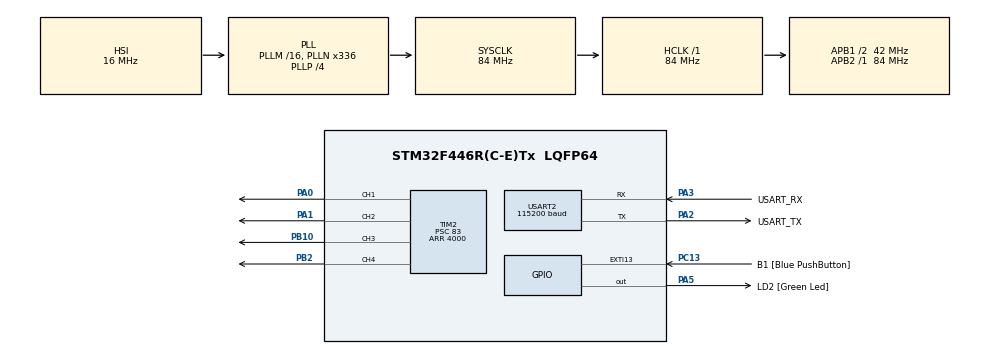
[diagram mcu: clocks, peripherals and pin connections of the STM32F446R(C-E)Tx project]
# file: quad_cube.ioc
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FREERTOS.Tasks01=defaultTask,0,128,StartDefaultTask,Default,NULL
Mcu.Family=STM32F4
Mcu.Name=STM32F446R(C-E)Tx
Mcu.Package=LQFP64
NVIC.PriorityGroup=NVIC_PRIORITYGROUP_4
NVIC.TIM1_UP_TIM10_IRQn=true\:0\:0\:false\:false\:true\:false
NVIC.TimeBase=TIM1_UP_TIM10_IRQn
NVIC.TimeBaseIP=TIM1
PA0-WKUP.Signal=S_TIM2_CH1_ETR
PA1.Signal=S_TIM2_CH2
PA13.GPIO_Label=TMS
PA13.Signal=SYS_JTMS-SWDIO
PA14.GPIO_Label=TCK
PA14.Signal=SYS_JTCK-SWCLK
PA2.GPIO_Label=USART_TX
PA2.GPIO_Speed=GPIO_SPEED_FREQ_LOW
PA2.Mode=Asynchronous
PA2.Signal=USART2_TX
PA3.GPIO_Label=USART_RX
PA3.GPIO_Speed=GPIO_SPEED_FREQ_LOW
PA3.Mode=Asynchronous
PA3.Signal=USART2_RX
PA5.GPIO_Label=LD2 [Green Led]
PA5.Signal=GPIO_Output
PB10.Signal=S_TIM2_CH3
PB2.Signal=S_TIM2_CH4
PB3.GPIO_Label=SWO
PB3.Signal=SYS_JTDO-SWO
PC13.GPIO_Label=B1 [Blue PushButton]
PC13.GPIO_ModeDefaultEXTI=GPIO_MODE_IT_FALLING
PC13.Signal=GPXTI13
PC14-OSC32_IN.Signal=RCC_OSC32_IN
PC15-OSC32_OUT.Signal=RCC_OSC32_OUT
PH0-OSC_IN.Signal=RCC_OSC_IN
PH1-OSC_OUT.Signal=RCC_OSC_OUT
ProjectManager.HeapSize=0x200
ProjectManager.StackSize=0x400
ProjectManager.TargetToolchain=TrueSTUDIO
RCC.AHBFreq_Value=84000000
RCC.APB1CLKDivider=RCC_HCLK_DIV2
RCC.APB1Freq_Value=42000000
RCC.APB1TimFreq_Value=84000000
RCC.APB2Freq_Value=84000000
RCC.APB2TimFreq_Value=84000000
RCC.CortexFreq_Value=84000000
RCC.FLatency-AdvancedSettings=FLASH_LATENCY_2
RCC.HCLKFreq_Value=84000000
RCC.HSE_VALUE=8000000
RCC.HSI_VALUE=16000000
RCC.LSE_VALUE=32768
RCC.PLLN=336
RCC.PLLP=RCC_PLLP_DIV4
RCC.SYSCLKFreq_VALUE=84000000
RCC.SYSCLKSource=RCC_SYSCLKSOURCE_PLLCLK
RCC.USBFreq_Value=168000000
RCC.VCOOutputFreq_Value=336000000
SH.S_TIM2_CH1_ETR.0=TIM2_CH1,PWM Generation1 CH1
SH.S_TIM2_CH2.0=TIM2_CH2,PWM Generation2 CH2
SH.S_TIM2_CH3.0=TIM2_CH3,PWM Generation3 CH3
SH.S_TIM2_CH4.0=TIM2_CH4,PWM Generation4 CH4
TIM2.Channel-PWM\ Generation1\ CH1=TIM_CHANNEL_1
TIM2.Channel-PWM\ Generation2\ CH2=TIM_CHANNEL_2
TIM2.Channel-PWM\ Generation3\ CH3=TIM_CHANNEL_3
TIM2.Channel-PWM\ Generation4\ CH4=TIM_CHANNEL_4
TIM2.Period=4000
TIM2.Prescaler=83
TIM2.Pulse-PWM\ Generation1\ CH1=1000
TIM2.Pulse-PWM\ Generation2\ CH2=1000
TIM2.Pulse-PWM\ Generation3\ CH3=1000
TIM2.Pulse-PWM\ Generation4\ CH4=1000
USART2.BaudRate=115200
USART2.VirtualMode=VM_ASYNC
VP_FREERTOS_VS_ENABLE.Mode=Enabled
VP_SYS_VS_tim1.Mode=TIM1
board=NUCLEO-F446RE

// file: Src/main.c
/**
  ******************************************************************************
  * File Name          : main.c
  * Description        : Main program body
  ******************************************************************************
  * This notice applies to any and all portions of this file
  * that are not between comment pairs USER CODE BEGIN and
  * USER CODE END. Other portions of this file, whether
  * inserted by the user or by software development tools
  * are owned by their respective copyright owners.
  *
  * Copyright (c) 2017 STMicroelectronics International N.V.
  * All rights reserved.
  *
  * Redistribution and use in source and binary forms, with or without
  * modification, are permitted, provided that the following conditions are met:
  *
  * 1. Redistribution of source code must retain the above copyright notice,
  *    this list of conditions and the following disclaimer.
  * 2. Redistributions in binary form must reproduce the above copyright notice,
  *    this list of conditions and the following disclaimer in the documentation
  *    and/or other materials provided with the distribution.
  * 3. Neither the name of STMicroelectronics nor the names of other
  *    contributors to this software may be used to endorse or promote products
  *    derived from this software without specific written permission.
  * 4. This software, including modifications and/or derivative works of this
  *    software, must execute solely and exclusively on microcontroller or
  *    microprocessor devices manufactured by or for STMicroelectronics.
  * 5. Redistribution and use of this software other than as permitted under
  *    this license is void and will automatically terminate your rights under
  *    this license.
  *
  * THIS SOFTWARE IS PROVIDED BY STMICROELECTRONICS AND CONTRIBUTORS "AS IS"
  * AND ANY EXPRESS, IMPLIED OR STATUTORY WARRANTIES, INCLUDING, BUT NOT
  * LIMITED TO, THE IMPLIED WARRANTIES OF MERCHANTABILITY, FITNESS FOR A
  * PARTICULAR PURPOSE AND NON-INFRINGEMENT OF THIRD PARTY INTELLECTUAL PROPERTY
  * RIGHTS ARE DISCLAIMED TO THE FULLEST EXTENT PERMITTED BY LAW. IN NO EVENT
  * SHALL STMICROELECTRONICS OR CONTRIBUTORS BE LIABLE FOR ANY DIRECT, INDIRECT,
  * INCIDENTAL, SPECIAL, EXEMPLARY, OR CONSEQUENTIAL DAMAGES (INCLUDING, BUT NOT
  * LIMITED TO, PROCUREMENT OF SUBSTITUTE GOODS OR SERVICES; LOSS OF USE, DATA,
  * OR PROFITS; OR BUSINESS INTERRUPTION) HOWEVER CAUSED AND ON ANY THEORY OF
  * LIABILITY, WHETHER IN CONTRACT, STRICT LIABILITY, OR TORT (INCLUDING
  * NEGLIGENCE OR OTHERWISE) ARISING IN ANY WAY OUT OF THE USE OF THIS SOFTWARE,
  * EVEN IF ADVISED OF THE POSSIBILITY OF SUCH DAMAGE.
  *
  ******************************************************************************
  */
#include "main.h"
#include "stm32f4xx_hal.h"
#include "cmsis_os.h"
#include "tim.h"
#include "usart.h"
#include "gpio.h"

/* USER CODE BEGIN Includes */
#include "usart.h"
/* USER CODE END Includes */

/* USER CODE BEGIN PV */
/* Private variables ---------------------------------------------------------*/

/* USER CODE END PV */

void SystemClock_Config(void);
void MX_FREERTOS_Init(void);

/* USER CODE BEGIN PFP */
/* Private function prototypes -----------------------------------------------*/

/* USER CODE END PFP */

int main(void)
{

  /* MCU Configuration----------------------------------------------------------*/

  /* Reset of all peripherals, Initializes the Flash interface and the Systick. */
  HAL_Init();

  /* Configure the system clock */
  SystemClock_Config();

  /* Initialize all configured peripherals */
  MX_GPIO_Init();
  MX_TIM2_Init();
  MX_USART2_UART_Init();

  /* USER CODE BEGIN 2 */
	HAL_TIM_IC_Start(&htim2, TIM_CHANNEL_1);

  /* USER CODE END 2 */

  /* Call init function for freertos objects (in freertos.c) */
  MX_FREERTOS_Init();

  /* Start scheduler */
  osKernelStart();

  /* We should never get here as control is now taken by the scheduler */

  /* Infinite loop */
  while (1)
  {

  }

}

/** System Clock Configuration
*/
void SystemClock_Config(void)
{

  RCC_OscInitTypeDef RCC_OscInitStruct;
  RCC_ClkInitTypeDef RCC_ClkInitStruct;

    /**Configure the main internal regulator output voltage
    */
  __HAL_RCC_PWR_CLK_ENABLE();

  __HAL_PWR_VOLTAGESCALING_CONFIG(PWR_REGULATOR_VOLTAGE_SCALE3);

    /**Initializes the CPU, AHB and APB busses clocks
    */
  RCC_OscInitStruct.OscillatorType = RCC_OSCILLATORTYPE_HSI;
  RCC_OscInitStruct.HSIState = RCC_HSI_ON;
  RCC_OscInitStruct.HSICalibrationValue = 16;
  RCC_OscInitStruct.PLL.PLLState = RCC_PLL_ON;
  RCC_OscInitStruct.PLL.PLLSource = RCC_PLLSOURCE_HSI;
  RCC_OscInitStruct.PLL.PLLM = 16;
  RCC_OscInitStruct.PLL.PLLN = 336;
  RCC_OscInitStruct.PLL.PLLP = RCC_PLLP_DIV4;
  RCC_OscInitStruct.PLL.PLLQ = 2;
  RCC_OscInitStruct.PLL.PLLR = 2;
  if (HAL_RCC_OscConfig(&RCC_OscInitStruct) != HAL_OK)
  {
    _Error_Handler(__FILE__, __LINE__);
  }

    /**Initializes the CPU, AHB and APB busses clocks
    */
  RCC_ClkInitStruct.ClockType = RCC_CLOCKTYPE_HCLK|RCC_CLOCKTYPE_SYSCLK
                              |RCC_CLOCKTYPE_PCLK1|RCC_CLOCKTYPE_PCLK2;
  RCC_ClkInitStruct.SYSCLKSource = RCC_SYSCLKSOURCE_PLLCLK;
  RCC_ClkInitStruct.AHBCLKDivider = RCC_SYSCLK_DIV1;
  RCC_ClkInitStruct.APB1CLKDivider = RCC_HCLK_DIV2;
  RCC_ClkInitStruct.APB2CLKDivider = RCC_HCLK_DIV1;

  if (HAL_RCC_ClockConfig(&RCC_ClkInitStruct, FLASH_LATENCY_2) != HAL_OK)
  {
    _Error_Handler(__FILE__, __LINE__);
  }

    /**Configure the Systick interrupt time
    */
  HAL_SYSTICK_Config(HAL_RCC_GetHCLKFreq()/1000);

    /**Configure the Systick
    */
  HAL_SYSTICK_CLKSourceConfig(SYSTICK_CLKSOURCE_HCLK);

  /* SysTick_IRQn interrupt configuration */
  HAL_NVIC_SetPriority(SysTick_IRQn, 15, 0);
}

void HAL_TIM_PeriodElapsedCallback(TIM_HandleTypeDef *htim)
{
  if (htim->Instance == TIM1) {
    HAL_IncTick();
  }
}

void _Error_Handler(char * file, int line)
{
  while(1)
  {
  }
}

/************************ (C) COPYRIGHT STMicroelectronics *****END OF FILE****/

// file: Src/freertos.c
/**
  ******************************************************************************
  * File Name          : freertos.c
  * Description        : Code for freertos applications
  ******************************************************************************
  * This notice applies to any and all portions of this file
  * that are not between comment pairs USER CODE BEGIN and
  * USER CODE END. Other portions of this file, whether
  * inserted by the user or by software development tools
  * are owned by their respective copyright owners.
  *
  * Copyright (c) 2017 STMicroelectronics International N.V.
  * All rights reserved.
  *
  * Redistribution and use in source and binary forms, with or without
  * modification, are permitted, provided that the following conditions are met:
  *
  * 1. Redistribution of source code must retain the above copyright notice,
  *    this list of conditions and the following disclaimer.
  * 2. Redistributions in binary form must reproduce the above copyright notice,
  *    this list of conditions and the following disclaimer in the documentation
  *    and/or other materials provided with the distribution.
  * 3. Neither the name of STMicroelectronics nor the names of other
  *    contributors to this software may be used to endorse or promote products
  *    derived from this software without specific written permission.
  * 4. This software, including modifications and/or derivative works of this
  *    software, must execute solely and exclusively on microcontroller or
  *    microprocessor devices manufactured by or for STMicroelectronics.
  * 5. Redistribution and use of this software other than as permitted under
  *    this license is void and will automatically terminate your rights under
  *    this license.
  *
  * THIS SOFTWARE IS PROVIDED BY STMICROELECTRONICS AND CONTRIBUTORS "AS IS"
  * AND ANY EXPRESS, IMPLIED OR STATUTORY WARRANTIES, INCLUDING, BUT NOT
  * LIMITED TO, THE IMPLIED WARRANTIES OF MERCHANTABILITY, FITNESS FOR A
  * PARTICULAR PURPOSE AND NON-INFRINGEMENT OF THIRD PARTY INTELLECTUAL PROPERTY
  * RIGHTS ARE DISCLAIMED TO THE FULLEST EXTENT PERMITTED BY LAW. IN NO EVENT
  * SHALL STMICROELECTRONICS OR CONTRIBUTORS BE LIABLE FOR ANY DIRECT, INDIRECT,
  * INCIDENTAL, SPECIAL, EXEMPLARY, OR CONSEQUENTIAL DAMAGES (INCLUDING, BUT NOT
  * LIMITED TO, PROCUREMENT OF SUBSTITUTE GOODS OR SERVICES; LOSS OF USE, DATA,
  * OR PROFITS; OR BUSINESS INTERRUPTION) HOWEVER CAUSED AND ON ANY THEORY OF
  * LIABILITY, WHETHER IN CONTRACT, STRICT LIABILITY, OR TORT (INCLUDING
  * NEGLIGENCE OR OTHERWISE) ARISING IN ANY WAY OUT OF THE USE OF THIS SOFTWARE,
  * EVEN IF ADVISED OF THE POSSIBILITY OF SUCH DAMAGE.
  *
  ******************************************************************************
  */

#include "FreeRTOS.h"
#include "task.h"
#include "cmsis_os.h"

/* USER CODE BEGIN Includes */
#include "stm32f4xx_hal_gpio.h"
#include "usart.h"
/* USER CODE END Includes */

osThreadId defaultTaskHandle;

void StartDefaultTask(void const * argument);

void MX_FREERTOS_Init(void); /* (MISRA C 2004 rule 8.1) */

/* Hook prototypes */

/* Init FreeRTOS */

void MX_FREERTOS_Init(void) {

  /* Create the thread(s) */
  /* definition and creation of defaultTask */
  osThreadDef(defaultTask, StartDefaultTask, osPriorityNormal, 0, 128);
  defaultTaskHandle = osThreadCreate(osThread(defaultTask), NULL);

}

/* StartDefaultTask function */
void StartDefaultTask(void const * argument)
{

  /* USER CODE BEGIN StartDefaultTask */
	char *msg = "8\r\n";
	uint8_t c = 0;
	uint8_t buffer[255];
	int32_t a;
	uint32_t b;
	uint8_t data8_send = 8;
	buffer[0] = data8_send;
	buffer[1] = 255;
	double pi = 3.145;
  /* Infinite loop */
  for(;;)
  {

	 // a = (int32_t) P;
	 // b = (uint32_t)(100*(P - a));
	//c = sizeof(buffer) / sizeof(*buffer);

    //snprintf(buffer,c, "%i.%03u,%i.%03u\r\n", a, b, a2, b2);
	//snprintf(buffer, c, "%i.%02u\r\n", a, b);
    //HAL_UART_Transmit(&huart2, (uint8_t*)msg, strlen(msg), 0xFFFF);
	send_double(pi);
	  pi = pi + 0.5;
	//HAL_UART_Transmit(&huart2, buffer, 2, 0xFFFF);
	//buffer[0] = buffer[0] + 1;
	//buffer[1] = buffer[1] - 1;
	HAL_GPIO_TogglePin(GPIOA, GPIO_PIN_5);
    osDelay(1000);
  }
  /* USER CODE END StartDefaultTask */
}

/************************ (C) COPYRIGHT STMicroelectronics *****END OF FILE****/
